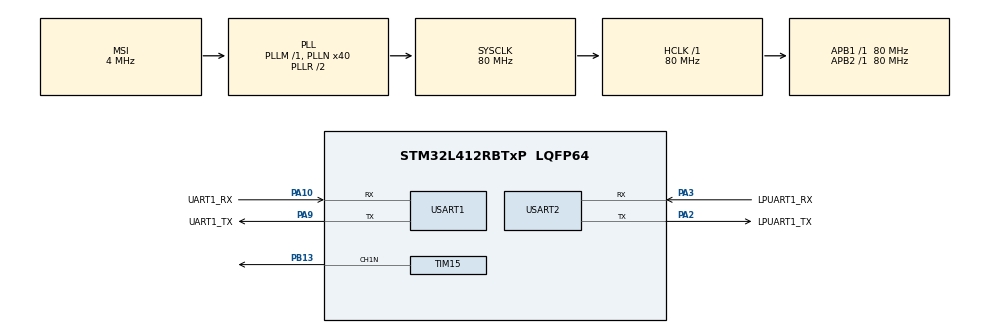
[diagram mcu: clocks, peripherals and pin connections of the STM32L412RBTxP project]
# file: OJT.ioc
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Mcu.Family=STM32L4
Mcu.Name=STM32L412RBTxP
Mcu.Package=LQFP64
NVIC.PriorityGroup=NVIC_PRIORITYGROUP_4
NVIC.TIM1_BRK_TIM15_IRQn=true\:0\:0\:false\:false\:true\:true\:true
PA10.GPIO_Label=UART1_RX
PA10.Mode=Asynchronous
PA10.Signal=USART1_RX
PA2.GPIO_Label=LPUART1_TX
PA2.Mode=Asynchronous
PA2.Signal=USART2_TX
PA3.GPIO_Label=LPUART1_RX
PA3.Mode=Asynchronous
PA3.Signal=USART2_RX
PA9.GPIO_Label=UART1_TX
PA9.Mode=Asynchronous
PA9.Signal=USART1_TX
PB13.Mode=PWM Generation1 CH1N
PB13.Signal=TIM15_CH1N
ProjectManager.HeapSize=0x200
ProjectManager.StackSize=0x400
ProjectManager.TargetToolchain=STM32CubeIDE
RCC.ADCFreq_Value=80000000
RCC.AHBFreq_Value=80000000
RCC.APB1Freq_Value=80000000
RCC.APB1TimFreq_Value=80000000
RCC.APB2Freq_Value=80000000
RCC.APB2TimFreq_Value=80000000
RCC.CortexFreq_Value=80000000
RCC.HCLKFreq_Value=80000000
RCC.HSE_VALUE=8000000
RCC.HSI48_VALUE=48000000
RCC.HSI_VALUE=16000000
RCC.LSE_VALUE=32768
RCC.MSI_VALUE=4000000
RCC.PLLN=40
RCC.SYSCLKFreq_VALUE=80000000
RCC.SYSCLKSource=RCC_SYSCLKSOURCE_PLLCLK
RCC.USBFreq_Value=4000000
RCC.VCOOutputFreq_Value=160000000
TIM15.Channel-PWM\ Generation1\ CH1N=TIM_CHANNEL_1
TIM15.Period=99
TIM15.Prescaler=7999
USART1.VirtualMode-Asynchronous=VM_ASYNC
USART2.VirtualMode-Asynchronous=VM_ASYNC
VP_TIM15_VS_ClockSourceINT.Mode=Internal
board=custom

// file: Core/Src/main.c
/* USER CODE BEGIN Header */
/**
  ******************************************************************************
  * @file           : main.c
  * @brief          : Main program body
  ******************************************************************************
  * @attention
  *
  * <h2><center>&copy; Copyright (c) 2021 STMicroelectronics.
  * All rights reserved.</center></h2>
  *
  * This software component is licensed by ST under BSD 3-Clause license,
  * the "License"; You may not use this file except in compliance with the
  * License. You may obtain a copy of the License at:
  *                        opensource.org/licenses/BSD-3-Clause
  *
  ******************************************************************************
  */
/* USER CODE END Header */
#include "main.h"
#include "tim.h"
#include "usart.h"
#include "gpio.h"

/* USER CODE BEGIN Includes */
#include <stdio.h>
/* USER CODE END Includes */

void SystemClock_Config(void);

/* USER CODE BEGIN 0 */
#ifdef __GNUC__
    #define PUTCHAR_PROTOTYPE int __io_putchar(int ch)
#else
    #define PUTCHAR_PROTOTYPE int fputc(int ch, FILE *f)
#endif

PUTCHAR_PROTOTYPE
{
  HAL_UART_Transmit(&huart1, (uint8_t*) &ch, 1, 0xFFFF);
  return ch;
}

/* USER CODE END 0 */

int main(void)
{

  /* MCU Configuration--------------------------------------------------------*/

  /* Reset of all peripherals, Initializes the Flash interface and the Systick. */
  HAL_Init();

  /* Configure the system clock */
  SystemClock_Config();

  /* Initialize all configured peripherals */
  MX_GPIO_Init();
  MX_USART2_UART_Init();
  MX_USART1_UART_Init();
  MX_TIM15_Init();
  /* USER CODE BEGIN 2 */

  HAL_TIMEx_PWMN_Start(&htim15, TIM_CHANNEL_1);
  //htim15.Instance->CCR2 = 0;

  /* USER CODE END 2 */

  /* Infinite loop */
  /* USER CODE BEGIN WHILE */

  /*uint8_t check_button;*/
  //uint8_t cnt_from_start = 0;

  uint8_t check_mode = 0;
#if 1
//  htim15.Instance->CCR1 = 100;
  uint8_t duty = 0;

  while (1)
  {
    /* 1sec. */
    while (duty < 100 )
    {
      /*LED */
      htim15.Instance->CCR1 = duty;
      duty += 1;

      /*motor */

      HAL_Delay(10);

    }
    while (duty > 0 )
    {
      htim15.Instance->CCR1 = duty;
      duty -= 1;
      HAL_Delay(10);
    }

  }
#else
  while (1)
  {

    /*LED */
    switch (check_mode)
    {
      case (0):
        htim15.Instance->CCR1 += 10;
        if (htim15.Instance->CCR1 > 99)
        {
          check_mode = 1;
        }
        break;
      case (1):
        htim15.Instance->CCR1 -= 10;
        if (htim15.Instance->CCR1 < 1)
        {
          check_mode = 0;
        }
        break;
    }

    /* motor */

    HAL_Delay(1000);

    /*
    cnt_from_start++;
    printf("Hello DongSik!! \r\n");
    printf("time : %d \r\n", cnt_from_start);
    HAL_Delay(1000);
     */
    /*polling*/
    /*
     check_button = HAL_GPIO_ReadPin(B1_USER_GPIO_Port, B1_USER_Pin);
     if (check_button)
     {
     HAL_GPIO_WritePin(LD4_USER_GPIO_Port, LD4_USER_Pin, GPIO_PIN_SET);
     } else
     {
     HAL_GPIO_WritePin(LD4_USER_GPIO_Port, LD4_USER_Pin, GPIO_PIN_RESET);
     }
     */

    /* USER CODE END WHILE */

    /* USER CODE BEGIN 3 */
  }
#endif
  /* USER CODE END 3 */
}

void SystemClock_Config(void)
{
  RCC_OscInitTypeDef RCC_OscInitStruct = {0};
  RCC_ClkInitTypeDef RCC_ClkInitStruct = {0};
  RCC_PeriphCLKInitTypeDef PeriphClkInit = {0};

  /** Configure the main internal regulator output voltage
  */
  if (HAL_PWREx_ControlVoltageScaling(PWR_REGULATOR_VOLTAGE_SCALE1) != HAL_OK)
  {
    Error_Handler();
  }
  /** Initializes the RCC Oscillators according to the specified parameters
  * in the RCC_OscInitTypeDef structure.
  */
  RCC_OscInitStruct.OscillatorType = RCC_OSCILLATORTYPE_MSI;
  RCC_OscInitStruct.MSIState = RCC_MSI_ON;
  RCC_OscInitStruct.MSICalibrationValue = 0;
  RCC_OscInitStruct.MSIClockRange = RCC_MSIRANGE_6;
  RCC_OscInitStruct.PLL.PLLState = RCC_PLL_ON;
  RCC_OscInitStruct.PLL.PLLSource = RCC_PLLSOURCE_MSI;
  RCC_OscInitStruct.PLL.PLLM = 1;
  RCC_OscInitStruct.PLL.PLLN = 40;
  RCC_OscInitStruct.PLL.PLLQ = RCC_PLLQ_DIV2;
  RCC_OscInitStruct.PLL.PLLR = RCC_PLLR_DIV2;
  if (HAL_RCC_OscConfig(&RCC_OscInitStruct) != HAL_OK)
  {
    Error_Handler();
  }
  /** Initializes the CPU, AHB and APB buses clocks
  */
  RCC_ClkInitStruct.ClockType = RCC_CLOCKTYPE_HCLK|RCC_CLOCKTYPE_SYSCLK
                              |RCC_CLOCKTYPE_PCLK1|RCC_CLOCKTYPE_PCLK2;
  RCC_ClkInitStruct.SYSCLKSource = RCC_SYSCLKSOURCE_PLLCLK;
  RCC_ClkInitStruct.AHBCLKDivider = RCC_SYSCLK_DIV1;
  RCC_ClkInitStruct.APB1CLKDivider = RCC_HCLK_DIV1;
  RCC_ClkInitStruct.APB2CLKDivider = RCC_HCLK_DIV1;

  if (HAL_RCC_ClockConfig(&RCC_ClkInitStruct, FLASH_LATENCY_4) != HAL_OK)
  {
    Error_Handler();
  }
  PeriphClkInit.PeriphClockSelection = RCC_PERIPHCLK_USART1|RCC_PERIPHCLK_USART2;
  PeriphClkInit.Usart1ClockSelection = RCC_USART1CLKSOURCE_PCLK2;
  PeriphClkInit.Usart2ClockSelection = RCC_USART2CLKSOURCE_PCLK1;
  if (HAL_RCCEx_PeriphCLKConfig(&PeriphClkInit) != HAL_OK)
  {
    Error_Handler();
  }
}

/* USER CODE BEGIN 4 */

/*
 *
void HAL_GPIO_EXTI_Callback(uint16_t GPIO_Pin)
{
  if (GPIO_Pin == BUTTON_USER_Pin)
  {
    if (HAL_GPIO_ReadPin(BUTTON_USER_GPIO_Port, BUTTON_USER_Pin) == GPIO_PIN_SET)
    {
      HAL_GPIO_WritePin(LD4_USER_GPIO_Port, LD4_USER_Pin, GPIO_PIN_SET);
    }
    else
    {
      HAL_GPIO_WritePin(LD4_USER_GPIO_Port, LD4_USER_Pin, GPIO_PIN_RESET);
    }
  }
}
 */

/* USER CODE END 4 */

void Error_Handler(void)
{
  __disable_irq();
  while (1)
  {
  }
}

/************************ (C) COPYRIGHT STMicroelectronics *****END OF FILE****/
